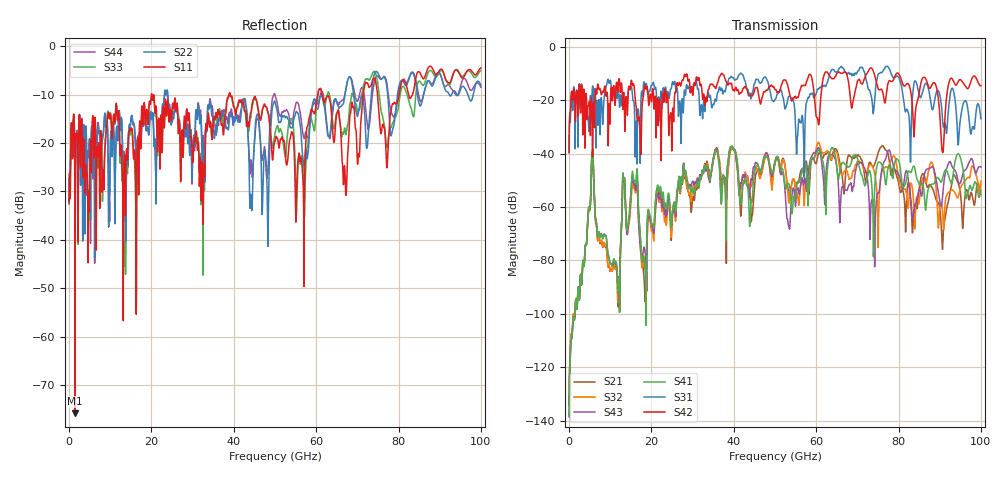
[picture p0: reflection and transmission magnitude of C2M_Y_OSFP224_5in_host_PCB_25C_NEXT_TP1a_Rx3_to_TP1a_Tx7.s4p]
# GHz S RI R 45
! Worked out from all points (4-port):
!   4000 points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, 25 MHz to 100 GHz, reference 45 ohm
!   strongest paths, dB at 25 MHz, 25.02 GHz, 50.02 GHz, 75.03 GHz, 100 GHz:
!     S42: -39.6, -29.2, -16.0, -15.6, -14.6
!     S31: -39.7, -13.7, -19.7, -10.5, -26.9
!     S41: -138.1, -63.4, -43.8, -43.4, -53.8
!     S43: -138.6, -62.9, -43.0, -54.8, -45.1
!     S32: -134.3, -64.6, -43.1, -71.7, -50.3
!     S21: -134.2, -65.5, -43.0, -39.9, -55.4
!   lowest |S11| = -75.9 dB at 1.45 GHz (marker M1), VSWR 1.00, Z = 45 + j0.0142 ohm
!   |S11| at or under -10 dB: start of sweep to 20 GHz; 20.13 GHz to 38.86 GHz (18.73 GHz wide, 63.5 % of centre); 39.16 GHz to 60.38 GHz (21.22 GHz wide, 42.6 % of centre) (the widest 3 of 6)
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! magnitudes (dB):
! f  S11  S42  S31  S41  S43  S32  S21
! 25 MHz  -32.2  -39.6  -39.7  -138.1  -138.6  -134.3  -134.2
! 1.45 GHz  -75.9  -23.0  -30.2  -99.7  -99.4  -99.1  -99.3
! 5.7 GHz  -14.8  -41.3  -14.9  -39.5  -39.3  -39.4  -39.6
! 18.23 GHz  -11.7  -16.0  -13.1  -78.9  -75.1  -78.9  -86.7
! 39.48 GHz  -10.3  -13.9  -11.2  -37.3  -37.4  -38.2  -38.0
! 53.27 GHz  -21.8  -15.6  -18.8  -51.2  -67.0  -57.4  -55.0
! 100 GHz  -4.5  -14.6  -26.9  -53.8  -45.1  -50.3  -55.4
